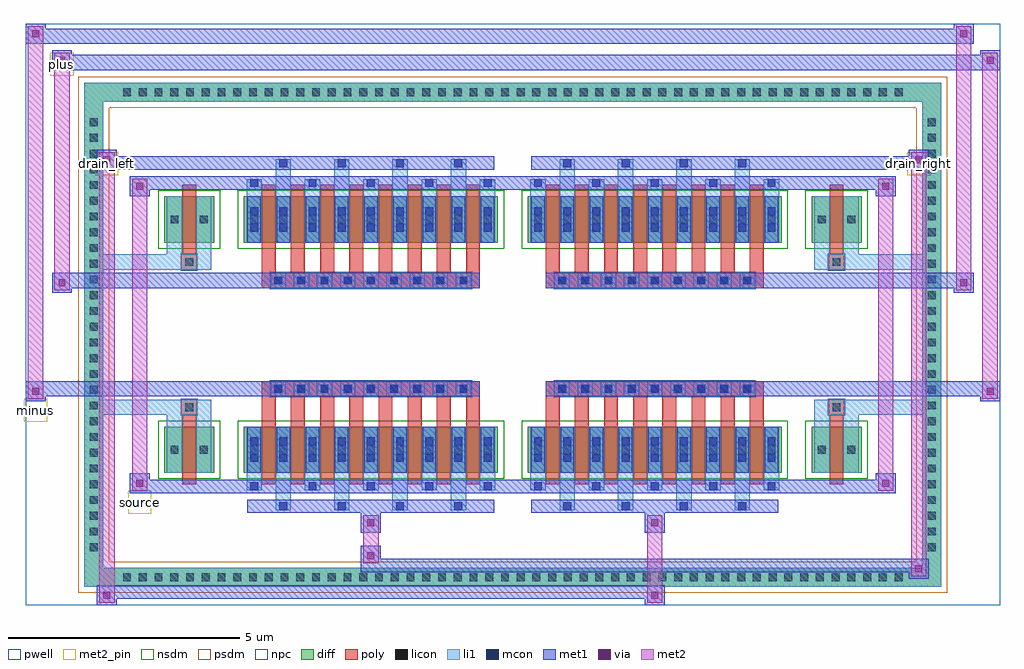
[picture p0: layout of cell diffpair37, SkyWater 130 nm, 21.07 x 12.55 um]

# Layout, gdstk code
import gdstk
lib = gdstk.Library(unit=1e-6, precision=5e-09)
def R(c, l, rs):  # rectangles x0, y0, x1, y1
    for r in rs: c.add(gdstk.rectangle(r[:2], r[2:], *l))
def A(c, l, x, y, w, h, nx, ny, dx, dy):  # array of equal rectangles
    R(c, l, [(x+i*dx, y+j*dy, x+i*dx+w, y+j*dy+h) for i in range(nx) for j in range(ny)])
def P(c, l, *ps):  # polygons
    for p in ps: c.add(gdstk.Polygon(p, *l))
pwell = (64, 44)
diff = (65, 20)
poly = (66, 20)
licon = (66, 44)
li1 = (67, 20)
mcon = (67, 44)
met1 = (68, 20)
via = (68, 44)
met2_pin = (69, 16)
met2 = (69, 20)
nsdm = (93, 44)
psdm = (94, 20)
npc = (95, 20)

diffpair37 = lib.new_cell('diffpair37')
R(diffpair37, pwell, [(-10.52,-5.84,10.52,6.71), (-7.84,-4.03,-0.01,-0.805), (0.01,-4.03,7.84,-0.805), (-7.84,0.805,-0.01,4.03), (0.01,0.805,7.84,4.03)])
A(diffpair37, diff, -8.535, -5.44, 0.41, 0.41, 50, 2, 0.34, 10.47)
A(diffpair37, diff, -9.25, -4.795, 0.41, 0.41, 1, 28, 0, 0.34)
A(diffpair37, diff, 8.84, -4.795, 0.41, 0.41, 1, 28, 0, 0.34)
R(diffpair37, diff, [(-8.535,-5.44,8.535,-5.03), (-9.25,-4.795,-8.84,4.795), (8.84,-4.795,9.25,4.795), (-7.53,-2.985,-6.45,-1.985), (-5.81,-2.985,-0.32,-1.985), (0.32,-2.985,5.81,-1.985), (6.45,-2.985,7.53,-1.985), (-7.53,1.985,-6.45,2.985), (-5.81,1.985,-0.32,2.985), (0.32,1.985,5.81,2.985), (6.45,1.985,7.53,2.985), (-8.535,5.03,8.535,5.44)])
P(diffpair37, diff, [(9.25,5.44),(-9.25,5.44),(-9.25,-5.03),(-8.84,-5.03),(-8.84,5.03),(8.84,5.03),(8.84,-5.03),(-8.84,-5.03),(-9.25,-5.03),(-9.25,-5.44),(9.25,-5.44)])
A(diffpair37, poly, -5.42, -3.235, 0.3, 1.5, 8, 2, 0.63, 4.97)
A(diffpair37, poly, 0.71, -3.235, 0.3, 1.5, 8, 2, 0.63, 4.97)
A(diffpair37, poly, -5.42, -1.735, 0.3, 0.4, 8, 2, 0.63, 3.07)
A(diffpair37, poly, 0.71, -1.735, 0.3, 0.4, 8, 2, 0.63, 3.07)
A(diffpair37, poly, -5.23, -1.335, 0.33, 0.33, 9, 2, 0.5, 2.34)
A(diffpair37, poly, 0.9, -1.335, 0.33, 0.33, 9, 2, 0.5, 2.34)
R(diffpair37, poly, [(-7.14,-3.235,-6.84,-1.735), (6.84,-3.235,7.14,-1.735), (-7.155,-1.735,-6.825,-1.405), (-7.155,-1.735,-6.825,-1.405), (6.825,-1.735,7.155,-1.405), (6.825,-1.735,7.155,-1.405), (-5.42,-1.335,-0.71,-1.005), (0.71,-1.335,5.42,-1.005), (-5.42,1.005,-0.71,1.335), (0.71,1.005,5.42,1.335), (-7.155,1.405,-6.825,1.735), (-7.155,1.405,-6.825,1.735), (6.825,1.405,7.155,1.735), (6.825,1.405,7.155,1.735), (-7.14,1.735,-6.84,3.235), (6.84,1.735,7.14,3.235)])
A(diffpair37, licon, -8.415, -5.32, 0.17, 0.17, 50, 2, 0.34, 10.47)
A(diffpair37, licon, -9.13, -4.675, 0.17, 0.17, 1, 28, 0, 0.34)
A(diffpair37, licon, 8.96, -4.675, 0.17, 0.17, 1, 28, 0, 0.34)
A(diffpair37, licon, -5.67, -2.57, 0.17, 0.17, 9, 2, 0.63, 4.97)
A(diffpair37, licon, 0.46, -2.57, 0.17, 0.17, 9, 2, 0.63, 4.97)
A(diffpair37, licon, -5.15, -1.255, 0.17, 0.17, 9, 2, 0.5, 2.34)
A(diffpair37, licon, 0.98, -1.255, 0.17, 0.17, 9, 2, 0.5, 2.34)
R(diffpair37, licon, [(-7.39,-2.57,-7.22,-2.4), (-6.76,-2.57,-6.59,-2.4), (6.59,-2.57,6.76,-2.4), (7.22,-2.57,7.39,-2.4), (-7.075,-1.655,-6.905,-1.485), (6.905,-1.655,7.075,-1.485), (-7.075,1.485,-6.905,1.655), (6.905,1.485,7.075,1.655), (-7.39,2.4,-7.22,2.57), (-6.76,2.4,-6.59,2.57), (6.59,2.4,6.76,2.57), (7.22,2.4,7.39,2.57)])
A(diffpair37, li1, -8.495, -5.4, 0.33, 0.33, 50, 2, 0.34, 10.47)
A(diffpair37, li1, -9.21, -4.755, 0.33, 0.33, 1, 28, 0, 0.34)
A(diffpair37, li1, 8.88, -4.755, 0.33, 0.33, 1, 28, 0, 0.34)
A(diffpair37, li1, -5.12, -3.79, 0.33, 0.805, 4, 2, 1.26, 6.775)
A(diffpair37, li1, -5.04, -3.79, 0.17, 0.17, 4, 2, 1.26, 7.41)
A(diffpair37, li1, 1.01, -3.79, 0.33, 0.805, 4, 2, 1.26, 6.775)
A(diffpair37, li1, 1.09, -3.79, 0.17, 0.17, 4, 2, 1.26, 7.41)
A(diffpair37, li1, -5.75, -3.36, 0.33, 0.375, 5, 2, 1.26, 6.345)
A(diffpair37, li1, -5.67, -3.36, 0.17, 0.17, 5, 2, 1.26, 6.55)
A(diffpair37, li1, 0.38, -3.36, 0.33, 0.375, 5, 2, 1.26, 6.345)
A(diffpair37, li1, 0.46, -3.36, 0.17, 0.17, 5, 2, 1.26, 6.55)
A(diffpair37, li1, -5.75, -2.985, 0.33, 1, 9, 2, 0.63, 4.97)
A(diffpair37, li1, 0.38, -2.985, 0.33, 1, 9, 2, 0.63, 4.97)
A(diffpair37, li1, -5.67, -2.75, 0.17, 0.17, 9, 2, 0.63, 0.36)
A(diffpair37, li1, -5.67, -2.75, 0.17, 0.53, 9, 2, 0.63, 4.97)
A(diffpair37, li1, 0.46, -2.75, 0.17, 0.17, 9, 2, 0.63, 0.36)
A(diffpair37, li1, 0.46, -2.75, 0.17, 0.53, 9, 2, 0.63, 4.97)
A(diffpair37, li1, -5.75, -2.65, 0.33, 0.33, 9, 2, 0.63, 4.97)
A(diffpair37, li1, 0.38, -2.65, 0.33, 0.33, 9, 2, 0.63, 4.97)
A(diffpair37, li1, -5.23, -1.335, 0.33, 0.33, 9, 2, 0.5, 2.34)
A(diffpair37, li1, 0.9, -1.335, 0.33, 0.33, 9, 2, 0.5, 2.34)
A(diffpair37, li1, -5.67, 2.22, 0.17, 0.17, 9, 2, 0.63, 0.36)
A(diffpair37, li1, 0.46, 2.22, 0.17, 0.17, 9, 2, 0.63, 0.36)
R(diffpair37, li1, [(-9.25,-5.44,-8.84,-5.03), (-9.25,-5.44,-8.84,-5.03), (-8.84,-5.44,8.84,-5.03), (8.84,-5.44,9.25,-5.03), (8.84,-5.44,9.25,-5.03), (-9.25,-5.03,-8.84,5.03), (8.84,-5.03,9.25,5.03), (-7.47,-2.985,-7.14,-1.985), (-6.84,-2.985,-6.51,-1.985), (6.51,-2.985,6.84,-1.985), (7.14,-2.985,7.47,-1.985), (-7.47,-2.65,-7.14,-2.32), (-6.84,-2.65,-6.51,-2.32), (6.51,-2.65,6.84,-2.32), (7.14,-2.65,7.47,-2.32), (-7.47,-1.985,-7.14,-1.405), (-6.84,-1.985,-6.51,-1.405), (6.51,-1.985,6.84,-1.405), (7.14,-1.985,7.47,-1.405), (-9.25,-1.735,-7.155,-1.405), (-7.47,-1.735,-7.155,-1.405), (-7.155,-1.735,-6.825,-1.405), (-6.825,-1.735,-6.51,-1.405), (6.51,-1.735,6.825,-1.405), (6.825,-1.735,7.155,-1.405), (6.825,-1.735,9.25,-1.405), (7.155,-1.735,7.47,-1.405), (-9.25,1.405,-7.155,1.735), (-7.47,1.405,-7.155,1.735), (-7.47,1.405,-7.14,1.985), (-7.155,1.405,-6.825,1.735), (-6.84,1.405,-6.51,1.985), (-6.825,1.405,-6.51,1.735), (6.51,1.405,6.825,1.735), (6.51,1.405,6.84,1.985), (6.825,1.405,7.155,1.735), (6.825,1.405,9.25,1.735), (7.14,1.405,7.47,1.985), (7.155,1.405,7.47,1.735), (-7.47,1.985,-7.14,2.985), (-6.84,1.985,-6.51,2.985), (6.51,1.985,6.84,2.985), (7.14,1.985,7.47,2.985), (-7.47,2.32,-7.14,2.65), (-6.84,2.32,-6.51,2.65), (6.51,2.32,6.84,2.65), (7.14,2.32,7.47,2.65), (-9.25,5.03,-8.84,5.44), (-9.25,5.03,-8.84,5.44), (-8.84,5.03,8.84,5.44), (8.84,5.03,9.25,5.44), (8.84,5.03,9.25,5.44)])
A(diffpair37, mcon, -5.04, -3.79, 0.17, 0.17, 4, 2, 1.26, 7.41)
A(diffpair37, mcon, 1.09, -3.79, 0.17, 0.17, 4, 2, 1.26, 7.41)
A(diffpair37, mcon, -5.67, -3.36, 0.17, 0.17, 5, 2, 1.26, 6.55)
A(diffpair37, mcon, 0.46, -3.36, 0.17, 0.17, 5, 2, 1.26, 6.55)
A(diffpair37, mcon, -5.67, -2.75, 0.17, 0.17, 9, 2, 0.63, 0.36)
A(diffpair37, mcon, 0.46, -2.75, 0.17, 0.17, 9, 2, 0.63, 0.36)
A(diffpair37, mcon, -5.15, -1.255, 0.17, 0.17, 9, 2, 0.5, 2.34)
A(diffpair37, mcon, 0.98, -1.255, 0.17, 0.17, 9, 2, 0.5, 2.34)
A(diffpair37, mcon, -5.67, 2.22, 0.17, 0.17, 9, 2, 0.63, 0.36)
A(diffpair37, mcon, 0.46, 2.22, 0.17, 0.17, 9, 2, 0.63, 0.36)
A(diffpair37, met1, -5.1, -3.85, 0.29, 0.29, 4, 2, 1.26, 7.41)
A(diffpair37, met1, 1.03, -3.85, 0.29, 0.29, 4, 2, 1.26, 7.41)
A(diffpair37, met1, -5.73, -3.42, 0.29, 0.29, 5, 2, 1.26, 6.55)
A(diffpair37, met1, 0.4, -3.42, 0.29, 0.29, 5, 2, 1.26, 6.55)
A(diffpair37, met1, -5.73, -2.985, 0.29, 1, 9, 2, 0.63, 4.97)
A(diffpair37, met1, 0.4, -2.985, 0.29, 1, 9, 2, 0.63, 4.97)
A(diffpair37, met1, -5.73, -2.81, 0.29, 0.29, 9, 2, 0.63, 0.36)
A(diffpair37, met1, 0.4, -2.81, 0.29, 0.29, 9, 2, 0.63, 0.36)
A(diffpair37, met1, -5.21, -1.315, 0.29, 0.29, 9, 2, 0.5, 2.34)
A(diffpair37, met1, 0.92, -1.315, 0.29, 0.29, 9, 2, 0.5, 2.34)
A(diffpair37, met1, -5.73, 2.16, 0.29, 0.29, 9, 2, 0.63, 0.36)
A(diffpair37, met1, 0.4, 2.16, 0.29, 0.29, 9, 2, 0.63, 0.36)
R(diffpair37, met1, [(-8.98,-5.84,-8.55,-5.41), (2.85,-5.84,3.28,-5.41), (-8.98,-5.7,3.28,-5.41), (8.55,-5.27,8.98,-4.84), (-3.28,-5.13,8.98,-4.84), (-3.28,-4.99,-2.85,-4.56), (-3.28,-4.28,-2.85,-3.85), (2.85,-4.28,3.28,-3.85), (-5.73,-3.85,-0.4,-3.56), (0.4,-3.85,5.73,-3.56), (-8.27,-3.42,-7.84,-2.99), (-8.27,-3.42,-5.73,-3.13), (-5.73,-3.42,-0.4,-3.13), (-0.4,-3.42,0.4,-3.13), (0.4,-3.42,5.73,-3.13), (5.73,-3.42,8.27,-3.13), (7.84,-3.42,8.27,-2.99), (-10.52,-1.435,-10.09,-1.005), (10.09,-1.435,10.52,-1.005), (-10.52,-1.335,-0.71,-1.005), (-5.42,-1.335,-0.71,-1.005), (0.71,-1.335,5.42,-1.005), (0.71,-1.335,10.52,-1.005), (-9.95,0.905,-9.52,1.335), (9.52,0.905,9.95,1.335), (-9.95,1.005,-5.42,1.335), (-5.42,1.005,-0.71,1.335), (0.71,1.005,5.42,1.335), (5.42,1.005,9.95,1.335), (-8.27,2.99,-7.84,3.42), (7.84,2.99,8.27,3.42), (-8.27,3.13,-5.73,3.42), (-5.73,3.13,-0.4,3.42), (-0.4,3.13,0.4,3.42), (0.4,3.13,5.73,3.42), (5.73,3.13,8.27,3.42), (-8.98,3.56,-8.55,3.99), (-8.98,3.56,-5.73,3.85), (-5.73,3.56,-0.4,3.85), (0.4,3.56,5.73,3.85), (5.73,3.56,8.98,3.85), (8.55,3.56,8.98,3.99), (-9.95,5.71,-9.52,6.14), (-9.95,5.71,-7.84,6.04), (-7.84,5.71,7.84,6.04), (7.84,5.71,10.52,6.04), (10.09,5.71,10.52,6.14), (-10.52,6.28,-10.09,6.71), (-10.52,6.28,-7.84,6.61), (-7.84,6.28,7.84,6.61), (7.84,6.28,9.95,6.61), (9.52,6.28,9.95,6.71)])
R(diffpair37, via, [(-8.84,-5.7,-8.69,-5.55), (2.99,-5.7,3.14,-5.55), (8.69,-5.13,8.84,-4.98), (-3.14,-4.85,-2.99,-4.7), (-3.14,-4.14,-2.99,-3.99), (2.99,-4.14,3.14,-3.99), (-8.13,-3.28,-7.98,-3.13), (7.98,-3.28,8.13,-3.13), (-10.38,-1.295,-10.23,-1.145), (10.23,-1.295,10.38,-1.145), (-9.81,1.045,-9.66,1.195), (9.66,1.045,9.81,1.195), (-8.13,3.13,-7.98,3.28), (7.98,3.13,8.13,3.28), (-8.84,3.7,-8.69,3.85), (8.69,3.7,8.84,3.85), (-9.81,5.85,-9.66,6), (10.23,5.85,10.38,6), (-10.38,6.42,-10.23,6.57), (9.66,6.42,9.81,6.57)])
R(diffpair37, met2_pin, [(-8.305,-3.87,-7.805,-3.37), (-10.555,-1.885,-10.055,-1.385), (-9.015,3.44,-8.515,3.94), (8.515,3.44,9.015,3.94), (-9.985,5.59,-9.485,6.09)])
R(diffpair37, met2, [(-8.93,-5.79,-8.6,-5.46), (-8.93,-5.79,-8.6,3.94), (2.9,-5.79,3.23,-5.46), (2.9,-5.46,3.23,-4.23), (8.6,-5.22,8.93,-4.89), (8.6,-5.22,8.93,3.94), (-3.23,-4.94,-2.9,-4.61), (-3.23,-4.61,-2.9,-4.23), (-3.23,-4.23,-2.9,-3.9), (2.9,-4.23,3.23,-3.9), (-8.22,-3.37,-7.89,-3.04), (-8.22,-3.37,-7.89,3.37), (7.89,-3.37,8.22,-3.04), (7.89,-3.37,8.22,3.37), (-10.47,-1.385,-10.14,-1.055), (-10.47,-1.385,-10.14,6.66), (10.14,-1.385,10.47,-1.055), (10.14,-1.385,10.47,6.09), (-9.9,0.955,-9.57,1.285), (-9.9,0.955,-9.57,6.09), (9.57,0.955,9.9,1.285), (9.57,0.955,9.9,6.66), (-8.22,3.04,-7.89,3.37), (7.89,3.04,8.22,3.37), (-8.93,3.61,-8.6,3.94), (8.6,3.61,8.93,3.94), (-9.9,5.76,-9.57,6.09), (10.14,5.76,10.47,6.09), (-10.47,6.33,-10.14,6.66), (9.57,6.33,9.9,6.66)])
P(diffpair37, met2, [(10.47,-1.385),(10.47,-1.385),(10.47,-1.055),(10.47,-1.055)],
  [(10.47,5.76),(10.47,5.76),(10.47,6.09),(10.47,6.09)],
  [(-10.14,-1.385),(-10.14,-1.385),(-10.14,-1.055),(-10.14,-1.055)],
  [(-10.14,6.33),(-10.14,6.33),(-10.14,6.66),(-10.14,6.66)],
  [(9.9,0.955),(9.9,0.955),(9.9,1.285),(9.9,1.285)],
  [(9.9,6.33),(9.9,6.33),(9.9,6.66),(9.9,6.66)],
  [(-9.57,0.955),(-9.57,0.955),(-9.57,1.285),(-9.57,1.285)],
  [(-9.57,5.76),(-9.57,5.76),(-9.57,6.09),(-9.57,6.09)],
  [(-8.6,-5.79),(-8.6,-5.79),(-8.6,-5.46),(-8.6,-5.46)],
  [(-8.6,3.61),(-8.6,3.61),(-8.6,3.94),(-8.6,3.94)],
  [(8.93,-5.22),(8.93,-5.22),(8.93,-4.89),(8.93,-4.89)],
  [(8.93,3.61),(8.93,3.61),(8.93,3.94),(8.93,3.94)],
  [(-7.89,-3.37),(-7.89,-3.37),(-7.89,-3.04),(-7.89,-3.04)],
  [(-7.89,3.04),(-7.89,3.04),(-7.89,3.37),(-7.89,3.37)],
  [(8.22,-3.37),(8.22,-3.37),(8.22,-3.04),(8.22,-3.04)],
  [(8.22,3.04),(8.22,3.04),(8.22,3.37),(8.22,3.37)])
R(diffpair37, nsdm, [(-7.66,-3.115,-6.32,-1.855), (-5.94,-3.115,-0.19,-1.855), (0.19,-3.115,5.94,-1.855), (6.32,-3.115,7.66,-1.855), (-7.66,1.855,-6.32,3.115), (-5.94,1.855,-0.19,3.115), (0.19,1.855,5.94,3.115), (6.32,1.855,7.66,3.115)])
P(diffpair37, psdm, [(9.38,5.57),(-9.38,5.57),(-9.38,-4.9),(-8.71,-4.9),(-8.71,4.9),(8.71,4.9),(8.71,-4.9),(-8.71,-4.9),(-9.38,-4.9),(-9.38,-5.57),(9.38,-5.57)])
A(diffpair37, npc, -5.25, -1.355, 0.37, 0.37, 9, 2, 0.5, 2.34)
A(diffpair37, npc, 0.88, -1.355, 0.37, 0.37, 9, 2, 0.5, 2.34)
R(diffpair37, npc, [(-7.175,-1.755,-6.805,-1.385), (6.805,-1.755,7.175,-1.385), (-5.25,-1.355,-4.38,-0.985), (-5.25,-1.355,-4.38,-0.985), (-4.75,-1.355,-3.88,-0.985), (-4.75,-1.355,-3.88,-0.985), (-4.25,-1.355,-3.38,-0.985), (-4.25,-1.355,-3.38,-0.985), (-3.75,-1.355,-2.88,-0.985), (-3.75,-1.355,-2.88,-0.985), (-3.25,-1.355,-2.38,-0.985), (-3.25,-1.355,-2.38,-0.985), (-2.75,-1.355,-1.88,-0.985), (-2.75,-1.355,-1.88,-0.985), (-2.25,-1.355,-1.38,-0.985), (-2.25,-1.355,-1.38,-0.985), (-1.75,-1.355,-0.88,-0.985), (-1.75,-1.355,-0.88,-0.985), (0.88,-1.355,1.75,-0.985), (0.88,-1.355,1.75,-0.985), (1.38,-1.355,2.25,-0.985), (1.38,-1.355,2.25,-0.985), (1.88,-1.355,2.75,-0.985), (1.88,-1.355,2.75,-0.985), (2.38,-1.355,3.25,-0.985), (2.38,-1.355,3.25,-0.985), (2.88,-1.355,3.75,-0.985), (2.88,-1.355,3.75,-0.985), (3.38,-1.355,4.25,-0.985), (3.38,-1.355,4.25,-0.985), (3.88,-1.355,4.75,-0.985), (3.88,-1.355,4.75,-0.985), (4.38,-1.355,5.25,-0.985), (4.38,-1.355,5.25,-0.985), (-5.25,0.985,-4.38,1.355), (-5.25,0.985,-4.38,1.355), (-4.75,0.985,-3.88,1.355), (-4.75,0.985,-3.88,1.355), (-4.25,0.985,-3.38,1.355), (-4.25,0.985,-3.38,1.355), (-3.75,0.985,-2.88,1.355), (-3.75,0.985,-2.88,1.355), (-3.25,0.985,-2.38,1.355), (-3.25,0.985,-2.38,1.355), (-2.75,0.985,-1.88,1.355), (-2.75,0.985,-1.88,1.355), (-2.25,0.985,-1.38,1.355), (-2.25,0.985,-1.38,1.355), (-1.75,0.985,-0.88,1.355), (-1.75,0.985,-0.88,1.355), (0.88,0.985,1.75,1.355), (0.88,0.985,1.75,1.355), (1.38,0.985,2.25,1.355), (1.38,0.985,2.25,1.355), (1.88,0.985,2.75,1.355), (1.88,0.985,2.75,1.355), (2.38,0.985,3.25,1.355), (2.38,0.985,3.25,1.355), (2.88,0.985,3.75,1.355), (2.88,0.985,3.75,1.355), (3.38,0.985,4.25,1.355), (3.38,0.985,4.25,1.355), (3.88,0.985,4.75,1.355), (3.88,0.985,4.75,1.355), (4.38,0.985,5.25,1.355), (4.38,0.985,5.25,1.355), (-7.175,1.385,-6.805,1.755), (6.805,1.385,7.175,1.755)])
diffpair37.add(gdstk.Label('minus', (-10.305,-1.635), layer=69, texttype=5))
diffpair37.add(gdstk.Label('drain_right', (8.765,3.69), layer=69, texttype=5))
diffpair37.add(gdstk.Label('drain_left', (-8.765,3.69), layer=69, texttype=5))
diffpair37.add(gdstk.Label('source', (-8.055,-3.62), layer=69, texttype=5))
diffpair37.add(gdstk.Label('plus', (-9.735,5.84), layer=69, texttype=5))

lib.write_gds('diffpair37.gds')
